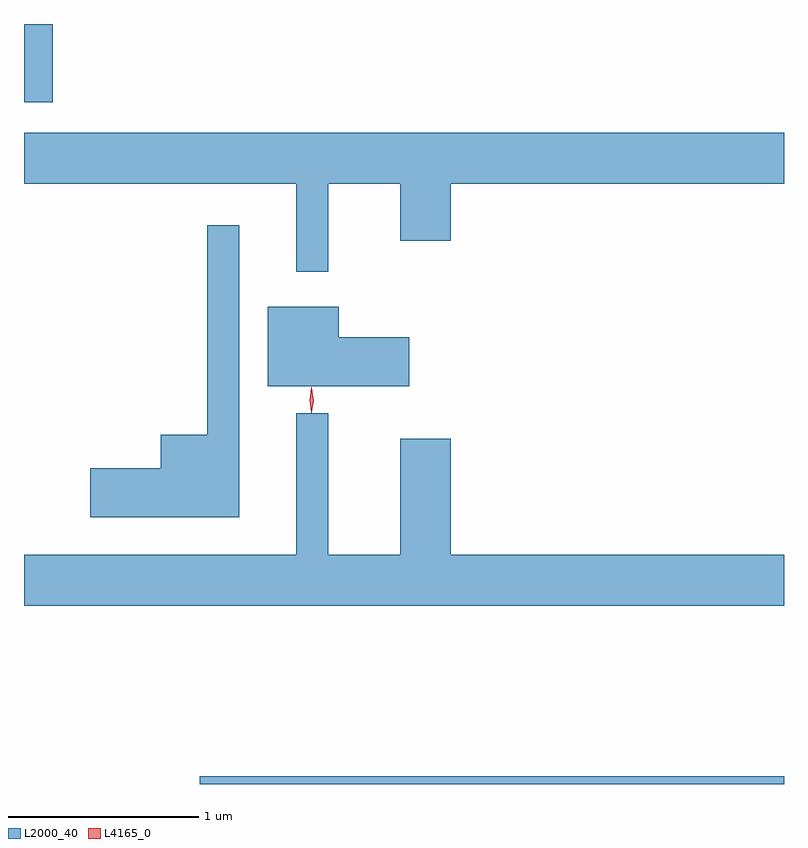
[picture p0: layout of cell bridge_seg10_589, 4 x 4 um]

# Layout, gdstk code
import gdstk
lib = gdstk.Library(unit=1e-6, precision=1e-09)
def R(c, l, rs):  # rectangles x0, y0, x1, y1
    for r in rs: c.add(gdstk.rectangle(r[:2], r[2:], *l))
def P(c, l, *ps):  # polygons
    for p in ps: c.add(gdstk.Polygon(p, *l))
L2000_40 = (2000, 40)
L4165_0 = (4165, 0)

bridge_seg10_589 = lib.new_cell('bridge_seg10_589')
R(bridge_seg10_589, L2000_40, [(673.561,2135.177,676.637,2135.219), (672.637,2138.766,672.789,2139.177)])
P(bridge_seg10_589, L2000_40, [(674.239,2138.336),(674.616,2138.336),(674.616,2138.036),(674.884,2138.036),(674.884,2138.336),(676.637,2138.336),(676.637,2138.604),(672.637,2138.604),(672.637,2138.336),(674.071,2138.336),(674.071,2137.873),(674.239,2137.873)],
  [(673.769,2138.118),(673.601,2138.118),(673.601,2137.014),(673.356,2137.014),(673.356,2136.839),(672.986,2136.839),(672.986,2136.581),(673.769,2136.581)],
  [(674.664,2137.529),(674.294,2137.529),(674.294,2137.689),(673.921,2137.689),(673.921,2137.271),(674.664,2137.271)],
  [(676.637,2136.384),(674.884,2136.384),(674.884,2136.994),(674.616,2136.994),(674.616,2136.384),(674.239,2136.384),(674.239,2137.128),(674.071,2137.128),(674.071,2136.384),(672.637,2136.384),(672.637,2136.116),(676.637,2136.116)])
P(bridge_seg10_589, L4165_0, [(674.15,2137.13),(674.141,2137.198),(674.15,2137.265),(674.15,2137.266),(674.151,2137.265),(674.16,2137.198),(674.152,2137.13),(674.151,2137.13)],
  [(674.15,2137.133),(674.141,2137.196),(674.15,2137.259),(674.15,2137.26),(674.151,2137.259),(674.161,2137.196),(674.152,2137.133),(674.151,2137.133)])

lib.write_gds('bridge_seg10_589.gds')
